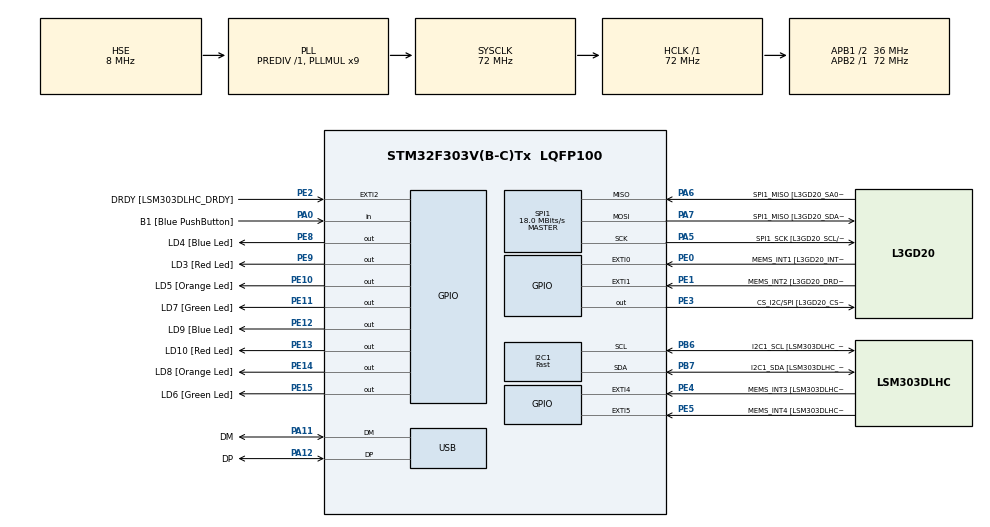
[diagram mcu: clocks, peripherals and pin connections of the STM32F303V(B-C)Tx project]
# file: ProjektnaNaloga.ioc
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I2C1.I2C_Speed_Mode=I2C_Fast
I2C1.Timing=0x0000020B
I2C1.Timing-I2C=0x2000090E
Mcu.Family=STM32F3
Mcu.Name=STM32F303V(B-C)Tx
Mcu.Package=LQFP100
NVIC.PriorityGroup=NVIC_PRIORITYGROUP_0
NVIC.USB_LP_CAN_RX0_IRQn=true\:0\:0\:false\:false\:true\:false\:true
PA0.GPIO_Label=B1 [Blue PushButton]
PA0.Signal=GPIO_Input
PA11.GPIO_Label=DM
PA11.Mode=Device
PA11.Signal=USB_DM
PA12.GPIO_Label=DP
PA12.Mode=Device
PA12.Signal=USB_DP
PA13.GPIO_Label=SWDIO
PA13.Mode=Serial_Wire
PA13.Signal=SYS_JTMS-SWDIO
PA14.GPIO_Label=SWCLK
PA14.Mode=Serial_Wire
PA14.Signal=SYS_JTCK-SWCLK
PA5.GPIO_Label=SPI1_SCK [L3GD20_SCL/SPC]
PA5.Mode=Full_Duplex_Master
PA5.Signal=SPI1_SCK
PA6.GPIO_Label=SPI1_MISO [L3GD20_SA0/SDO]
PA6.Mode=Full_Duplex_Master
PA6.Signal=SPI1_MISO
PA7.GPIO_Label=SPI1_MISO [L3GD20_SDA/SDI/SDO]
PA7.Mode=Full_Duplex_Master
PA7.Signal=SPI1_MOSI
PB3.GPIO_Label=SWO
PB3.Signal=SYS_JTDO-TRACESWO
PB6.GPIO_Label=I2C1_SCL [LSM303DLHC_SCL]
PB6.Mode=I2C
PB6.Signal=I2C1_SCL
PB7.GPIO_Label=I2C1_SDA [LSM303DLHC_SDA]
PB7.Mode=I2C
PB7.Signal=I2C1_SDA
PC14-OSC32_IN.GPIO_Label=OSC32_IN
PC14-OSC32_IN.Signal=RCC_OSC32_IN
PC15-OSC32_OUT.GPIO_Label=OSC32_OUT
PC15-OSC32_OUT.Signal=RCC_OSC32_OUT
PE0.GPIO_Label=MEMS_INT1 [L3GD20_INT1]
PE0.GPIO_ModeDefaultEXTI=GPIO_MODE_EVT_RISING
PE0.Signal=GPXTI0
PE1.GPIO_Label=MEMS_INT2 [L3GD20_DRDY/INT2]
PE1.GPIO_ModeDefaultEXTI=GPIO_MODE_EVT_RISING
PE1.Signal=GPXTI1
PE10.GPIO_Label=LD5 [Orange Led]
PE10.Signal=GPIO_Output
PE11.GPIO_Label=LD7 [Green Led]
PE11.Signal=GPIO_Output
PE12.GPIO_Label=LD9 [Blue Led]
PE12.Signal=GPIO_Output
PE13.GPIO_Label=LD10 [Red Led]
PE13.Signal=GPIO_Output
PE14.GPIO_Label=LD8 [Orange Led]
PE14.Signal=GPIO_Output
PE15.GPIO_Label=LD6 [Green Led]
PE15.Signal=GPIO_Output
PE2.GPIO_Label=DRDY [LSM303DLHC_DRDY]
PE2.GPIO_ModeDefaultEXTI=GPIO_MODE_EVT_RISING
PE2.Signal=GPXTI2
PE3.GPIO_Label=CS_I2C/SPI [L3GD20_CS_I2C/SPI]
PE3.Signal=GPIO_Output
PE4.GPIO_Label=MEMS_INT3 [LSM303DLHC_INT1]
PE4.GPIO_ModeDefaultEXTI=GPIO_MODE_EVT_RISING
PE4.Signal=GPXTI4
PE5.GPIO_Label=MEMS_INT4 [LSM303DLHC_INT2]
PE5.GPIO_ModeDefaultEXTI=GPIO_MODE_EVT_RISING
PE5.Signal=GPXTI5
PE8.GPIO_Label=LD4 [Blue Led]
PE8.Signal=GPIO_Output
PE9.GPIO_Label=LD3 [Red Led]
PE9.Signal=GPIO_Output
PF0-OSC_IN.GPIO_Label=OSC_IN
PF0-OSC_IN.Mode=HSE-External-Clock-Source
PF0-OSC_IN.Signal=RCC_OSC_IN
PF1-OSC_OUT.GPIO_Label=OSC_OUT
PF1-OSC_OUT.Signal=RCC_OSC_OUT
ProjectManager.HeapSize=0x200
ProjectManager.StackSize=0x400
ProjectManager.TargetToolchain=STM32CubeIDE
RCC.AHBFreq_Value=72000000
RCC.APB1CLKDivider=RCC_HCLK_DIV2
RCC.APB1Freq_Value=36000000
RCC.APB1TimFreq_Value=72000000
RCC.APB2Freq_Value=72000000
RCC.APB2TimFreq_Value=72000000
RCC.CortexFreq_Value=72000000
RCC.HCLKFreq_Value=72000000
RCC.HSE_VALUE=8000000
RCC.HSI_VALUE=8000000
RCC.LSE_VALUE=32768
RCC.PLLMUL=RCC_PLL_MUL9
RCC.PRESCALERUSB=RCC_USBCLKSOURCE_PLL_DIV1_5
RCC.SYSCLKFreq_VALUE=72000000
RCC.SYSCLKSourceVirtual=RCC_SYSCLKSOURCE_PLLCLK
RCC.USBFreq_Value=48000000
SPI1.BaudRatePrescaler=SPI_BAUDRATEPRESCALER_4
SPI1.BaudRatePrescaler-Full_Duplex_Master=SPI_BAUDRATEPRESCALER_2
SPI1.CalculateBaudRate=18.0 MBits/s
SPI1.CalculateBaudRate-Full_Duplex_Master=24.0 MBits/s
SPI1.Direction=SPI_DIRECTION_2LINES
SPI1.Mode=SPI_MODE_MASTER
SPI1.Mode-Full_Duplex_Master=SPI_MODE_MASTER
SPI1.VirtualType=VM_MASTER
USB_DEVICE.CLASS_NAME_FS=CDC
USB_DEVICE.VirtualMode=Cdc
USB_DEVICE.VirtualModeFS=Cdc_FS
VP_USB_DEVICE_VS_USB_DEVICE_CDC_FS.Mode=CDC_FS
board=STM32F3DISCOVERY

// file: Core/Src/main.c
/* USER CODE BEGIN Header */
/**
  ******************************************************************************
  * @file           : main.c
  * @brief          : Main program body
  ******************************************************************************
  * @attention
  *
  * <h2><center>&copy; Copyright (c) 2021 STMicroelectronics.
  * All rights reserved.</center></h2>
  *
  * This software component is licensed by ST under BSD 3-Clause license,
  * the "License"; You may not use this file except in compliance with the
  * License. You may obtain a copy of the License at:
  *                        opensource.org/licenses/BSD-3-Clause
  *
  ******************************************************************************
  */
/* USER CODE END Header */
#include "main.h"
#include "usb_device.h"

/* USER CODE BEGIN Includes */
#include "usbd_cdc_if.h"
/* USER CODE END Includes */

I2C_HandleTypeDef hi2c1;

SPI_HandleTypeDef hspi1;

void SystemClock_Config(void);
static void MX_GPIO_Init(void);
static void MX_I2C1_Init(void);
static void MX_SPI1_Init(void);
/* USER CODE BEGIN PFP */
uint8_t i2c1_pisiRegister(uint8_t, uint8_t, uint8_t);
void i2c1_beriRegistre(uint8_t, uint8_t, uint8_t*, uint8_t);
void initLSM303DLHC(void);
/* USER CODE END PFP */

/* USER CODE BEGIN 0 */
uint8_t i2c1_pisiRegister(uint8_t naprava, uint8_t reg, uint8_t podatek)
{
  naprava <<= 1;
  return HAL_I2C_Mem_Write(&hi2c1, naprava, reg, I2C_MEMADD_SIZE_8BIT, &podatek, 1, 10);
}

void i2c1_beriRegistre(uint8_t naprava, uint8_t reg, uint8_t* podatek, uint8_t dolzina)
{
  if ((dolzina>1)&&(naprava==0x19))  // ce je naprava 0x19 moramo postaviti ta bit, ce zelimo brati vec zlogov
    reg |= 0x80;
  naprava <<= 1;
  HAL_I2C_Mem_Read(&hi2c1, naprava, reg, I2C_MEMADD_SIZE_8BIT, podatek, dolzina, dolzina);
}

void initLSM303DLHC()
{
  HAL_Delay(10);

  // Za potrebe testa, moramo testni napravi sporociti kateri senzor imamo
  //#define OLD_SENSOR 0x73 // Odkomentiramo za LSM303DLHC / stari senzor
  #define NEW_SENSOR 0x6E // Odkomentiramo za LSM303AGR / novi senzor

  #if defined(OLD_SENSOR) && !defined(NEW_SENSOR)
  i2c1_pisiRegister(0x1e, 0x4F, OLD_SENSOR); // Povemo testni napravi, da imamo stari senzor
  #elif !defined(OLD_SENSOR) && defined(NEW_SENSOR)
  i2c1_pisiRegister(0x1e, 0x4F, NEW_SENSOR); // Povemo testni napravi, da imamo novi senzor
  #else
  for(;;); // V primeru napake, pocakamo tukaj
  #endif
  HAL_Delay(100);

  // inicializiraj pospeskometer
  i2c1_pisiRegister(0x19, 0x20, 0x47);  // zbudi pospeskometer in omogoci osi, odzivnost na 50hz
  i2c1_pisiRegister(0x19, 0x23, 0x98);  // nastavi posodobitev samo ko se prebere vrednost ter visoko locljivost, obÄutljivost na +/-4G
}
/* USER CODE END 0 */

int main(void)
{

  /* MCU Configuration--------------------------------------------------------*/

  /* Reset of all peripherals, Initializes the Flash interface and the Systick. */
  HAL_Init();

  /* Configure the system clock */
  SystemClock_Config();

  /* Initialize all configured peripherals */
  MX_GPIO_Init();
  MX_I2C1_Init();
  MX_SPI1_Init();
  MX_USB_DEVICE_Init();
  /* USER CODE BEGIN 2 */
  __HAL_I2C_ENABLE(&hi2c1);

  int16_t meritev[4];
  meritev[0] = 0xaaab;// glava za zaznamek zacetek paketa
  /* USER CODE END 2 */

  /* Infinite loop */
  /* USER CODE BEGIN WHILE */
  initLSM303DLHC();
  while (1)
  {
	  HAL_Delay(10);

	  i2c1_beriRegistre(0x19, 0x28,(uint8_t*)&meritev[1], 6);

	  float x = (float)meritev[1]*8/65535;
	  float y = (float)meritev[2]*8/65535;
	  float z = (float)meritev[3]*8/65535;

	  char buffer[80];
	  int buffSize = sprintf(buffer, "%0.3f %0.3f %0.3f\n", (float)x, (float)y, (float)z);

	  CDC_Transmit_FS(buffer, buffSize);
    /* USER CODE END WHILE */

  }
}

void SystemClock_Config(void)
{
  RCC_OscInitTypeDef RCC_OscInitStruct = {0};
  RCC_ClkInitTypeDef RCC_ClkInitStruct = {0};
  RCC_PeriphCLKInitTypeDef PeriphClkInit = {0};

  /** Initializes the RCC Oscillators according to the specified parameters
  * in the RCC_OscInitTypeDef structure.
  */
  RCC_OscInitStruct.OscillatorType = RCC_OSCILLATORTYPE_HSI|RCC_OSCILLATORTYPE_HSE;
  RCC_OscInitStruct.HSEState = RCC_HSE_BYPASS;
  RCC_OscInitStruct.HSEPredivValue = RCC_HSE_PREDIV_DIV1;
  RCC_OscInitStruct.HSIState = RCC_HSI_ON;
  RCC_OscInitStruct.HSICalibrationValue = RCC_HSICALIBRATION_DEFAULT;
  RCC_OscInitStruct.PLL.PLLState = RCC_PLL_ON;
  RCC_OscInitStruct.PLL.PLLSource = RCC_PLLSOURCE_HSE;
  RCC_OscInitStruct.PLL.PLLMUL = RCC_PLL_MUL9;
  if (HAL_RCC_OscConfig(&RCC_OscInitStruct) != HAL_OK)
  {
    Error_Handler();
  }
  /** Initializes the CPU, AHB and APB buses clocks
  */
  RCC_ClkInitStruct.ClockType = RCC_CLOCKTYPE_HCLK|RCC_CLOCKTYPE_SYSCLK
                              |RCC_CLOCKTYPE_PCLK1|RCC_CLOCKTYPE_PCLK2;
  RCC_ClkInitStruct.SYSCLKSource = RCC_SYSCLKSOURCE_PLLCLK;
  RCC_ClkInitStruct.AHBCLKDivider = RCC_SYSCLK_DIV1;
  RCC_ClkInitStruct.APB1CLKDivider = RCC_HCLK_DIV2;
  RCC_ClkInitStruct.APB2CLKDivider = RCC_HCLK_DIV1;

  if (HAL_RCC_ClockConfig(&RCC_ClkInitStruct, FLASH_LATENCY_2) != HAL_OK)
  {
    Error_Handler();
  }
  PeriphClkInit.PeriphClockSelection = RCC_PERIPHCLK_USB|RCC_PERIPHCLK_I2C1;
  PeriphClkInit.I2c1ClockSelection = RCC_I2C1CLKSOURCE_HSI;
  PeriphClkInit.USBClockSelection = RCC_USBCLKSOURCE_PLL_DIV1_5;
  if (HAL_RCCEx_PeriphCLKConfig(&PeriphClkInit) != HAL_OK)
  {
    Error_Handler();
  }
}

static void MX_I2C1_Init(void)
{

  hi2c1.Instance = I2C1;
  hi2c1.Init.Timing = 0x0000020B;
  hi2c1.Init.OwnAddress1 = 0;
  hi2c1.Init.AddressingMode = I2C_ADDRESSINGMODE_7BIT;
  hi2c1.Init.DualAddressMode = I2C_DUALADDRESS_DISABLE;
  hi2c1.Init.OwnAddress2 = 0;
  hi2c1.Init.OwnAddress2Masks = I2C_OA2_NOMASK;
  hi2c1.Init.GeneralCallMode = I2C_GENERALCALL_DISABLE;
  hi2c1.Init.NoStretchMode = I2C_NOSTRETCH_DISABLE;
  if (HAL_I2C_Init(&hi2c1) != HAL_OK)
  {
    Error_Handler();
  }
  /** Configure Analogue filter
  */
  if (HAL_I2CEx_ConfigAnalogFilter(&hi2c1, I2C_ANALOGFILTER_ENABLE) != HAL_OK)
  {
    Error_Handler();
  }
  /** Configure Digital filter
  */
  if (HAL_I2CEx_ConfigDigitalFilter(&hi2c1, 0) != HAL_OK)
  {
    Error_Handler();
  }

}

static void MX_SPI1_Init(void)
{

  /* SPI1 parameter configuration*/
  hspi1.Instance = SPI1;
  hspi1.Init.Mode = SPI_MODE_MASTER;
  hspi1.Init.Direction = SPI_DIRECTION_2LINES;
  hspi1.Init.DataSize = SPI_DATASIZE_4BIT;
  hspi1.Init.CLKPolarity = SPI_POLARITY_LOW;
  hspi1.Init.CLKPhase = SPI_PHASE_1EDGE;
  hspi1.Init.NSS = SPI_NSS_SOFT;
  hspi1.Init.BaudRatePrescaler = SPI_BAUDRATEPRESCALER_4;
  hspi1.Init.FirstBit = SPI_FIRSTBIT_MSB;
  hspi1.Init.TIMode = SPI_TIMODE_DISABLE;
  hspi1.Init.CRCCalculation = SPI_CRCCALCULATION_DISABLE;
  hspi1.Init.CRCPolynomial = 7;
  hspi1.Init.CRCLength = SPI_CRC_LENGTH_DATASIZE;
  hspi1.Init.NSSPMode = SPI_NSS_PULSE_ENABLE;
  if (HAL_SPI_Init(&hspi1) != HAL_OK)
  {
    Error_Handler();
  }

}

static void MX_GPIO_Init(void)
{
  GPIO_InitTypeDef GPIO_InitStruct = {0};

  /* GPIO Ports Clock Enable */
  __HAL_RCC_GPIOE_CLK_ENABLE();
  __HAL_RCC_GPIOC_CLK_ENABLE();
  __HAL_RCC_GPIOF_CLK_ENABLE();
  __HAL_RCC_GPIOA_CLK_ENABLE();
  __HAL_RCC_GPIOB_CLK_ENABLE();

  /*Configure GPIO pin Output Level */
  HAL_GPIO_WritePin(GPIOE, CS_I2C_SPI_Pin|LD4_Pin|LD3_Pin|LD5_Pin
                          |LD7_Pin|LD9_Pin|LD10_Pin|LD8_Pin
                          |LD6_Pin, GPIO_PIN_RESET);

  /*Configure GPIO pins : DRDY_Pin MEMS_INT3_Pin MEMS_INT4_Pin MEMS_INT1_Pin
                           MEMS_INT2_Pin */
  GPIO_InitStruct.Pin = DRDY_Pin|MEMS_INT3_Pin|MEMS_INT4_Pin|MEMS_INT1_Pin
                          |MEMS_INT2_Pin;
  GPIO_InitStruct.Mode = GPIO_MODE_EVT_RISING;
  GPIO_InitStruct.Pull = GPIO_NOPULL;
  HAL_GPIO_Init(GPIOE, &GPIO_InitStruct);

  /*Configure GPIO pins : CS_I2C_SPI_Pin LD4_Pin LD3_Pin LD5_Pin
                           LD7_Pin LD9_Pin LD10_Pin LD8_Pin
                           LD6_Pin */
  GPIO_InitStruct.Pin = CS_I2C_SPI_Pin|LD4_Pin|LD3_Pin|LD5_Pin
                          |LD7_Pin|LD9_Pin|LD10_Pin|LD8_Pin
                          |LD6_Pin;
  GPIO_InitStruct.Mode = GPIO_MODE_OUTPUT_PP;
  GPIO_InitStruct.Pull = GPIO_NOPULL;
  GPIO_InitStruct.Speed = GPIO_SPEED_FREQ_LOW;
  HAL_GPIO_Init(GPIOE, &GPIO_InitStruct);

  /*Configure GPIO pin : B1_Pin */
  GPIO_InitStruct.Pin = B1_Pin;
  GPIO_InitStruct.Mode = GPIO_MODE_INPUT;
  GPIO_InitStruct.Pull = GPIO_NOPULL;
  HAL_GPIO_Init(B1_GPIO_Port, &GPIO_InitStruct);

}

void Error_Handler(void)
{
}

/************************ (C) COPYRIGHT STMicroelectronics *****END OF FILE****/
